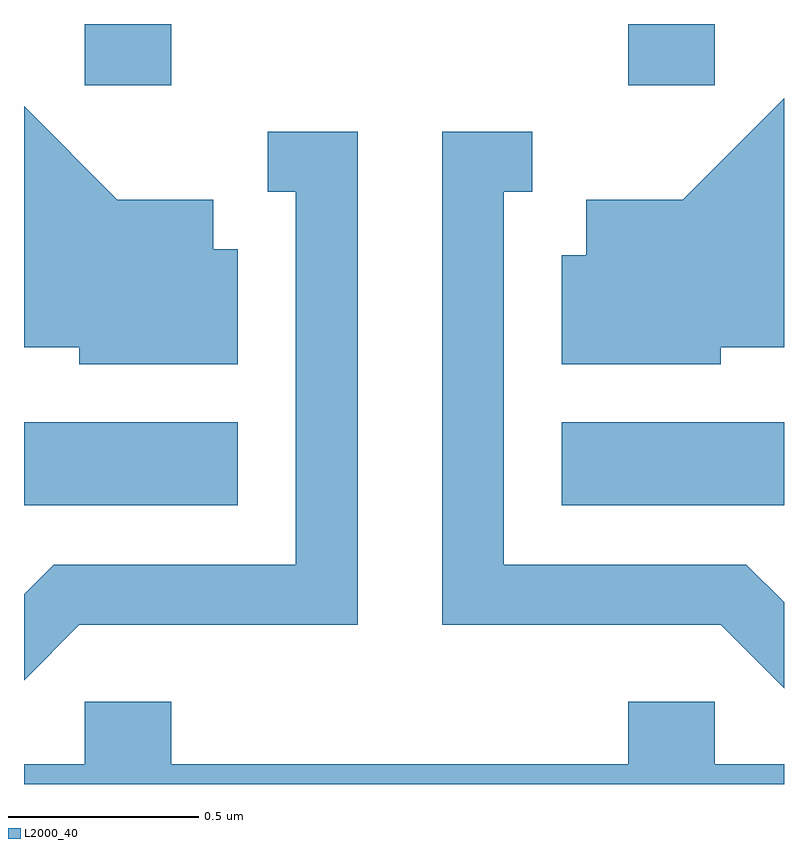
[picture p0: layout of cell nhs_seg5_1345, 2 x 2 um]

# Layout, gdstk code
import gdstk
lib = gdstk.Library(unit=1e-6, precision=1e-09)
def R(c, l, rs):  # rectangles x0, y0, x1, y1
    for r in rs: c.add(gdstk.rectangle(r[:2], r[2:], *l))
def P(c, l, *ps):  # polygons
    for p in ps: c.add(gdstk.Polygon(p, *l))
L2000_40 = (2000, 40)

nhs_seg5_1345 = lib.new_cell('nhs_seg5_1345')
R(nhs_seg5_1345, L2000_40, [(194.611,1508.806,195.174,1509.024), (196.026,1508.806,196.611,1509.024), (194.771,1509.911,194.999,1510.072), (196.201,1509.911,196.429,1510.072)])
P(nhs_seg5_1345, L2000_40, [(196.444,1509.221),(196.611,1509.221),(196.611,1509.876),(196.344,1509.609),(196.091,1509.609),(196.091,1509.464),(196.026,1509.464),(196.026,1509.176),(196.444,1509.176)],
  [(195.174,1509.479),(195.109,1509.479),(195.109,1509.609),(194.857,1509.609),(194.611,1509.855),(194.611,1509.221),(194.756,1509.221),(194.756,1509.176),(195.174,1509.176)],
  [(194.757,1508.491),(195.489,1508.491),(195.489,1509.789),(195.253,1509.789),(195.253,1509.631),(195.326,1509.631),(195.326,1508.649),(194.689,1508.649),(194.611,1508.571),(194.611,1508.345)],
  [(196.611,1508.55),(196.512,1508.649),(195.874,1508.649),(195.874,1509.631),(195.948,1509.631),(195.948,1509.789),(195.711,1509.789),(195.711,1508.491),(196.444,1508.491),(196.611,1508.324)],
  [(196.611,1508.124),(196.429,1508.124),(196.429,1508.289),(196.201,1508.289),(196.201,1508.124),(194.999,1508.124),(194.999,1508.289),(194.771,1508.289),(194.771,1508.124),(194.611,1508.124),(194.611,1508.072),(196.611,1508.072)])

lib.write_gds('nhs_seg5_1345.gds')
